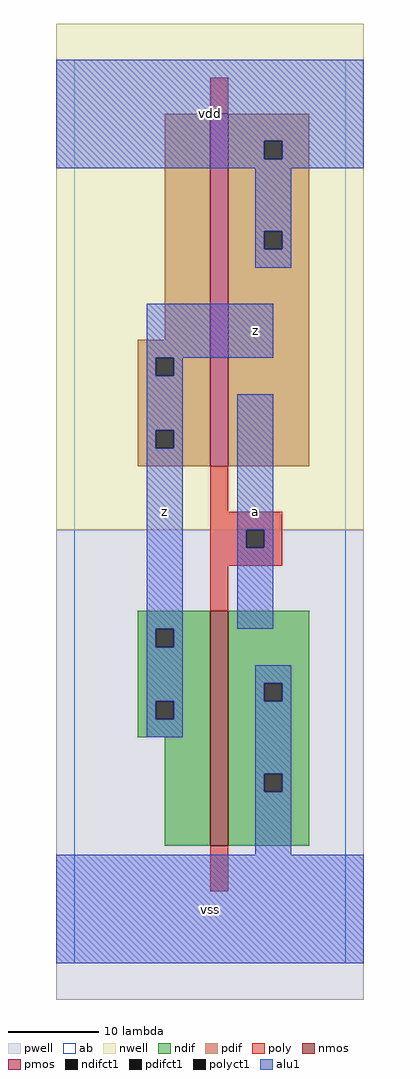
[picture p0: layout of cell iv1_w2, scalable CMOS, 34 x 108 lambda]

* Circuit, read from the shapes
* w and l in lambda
.subckt iv1_w2 a vdd vss z
M1 vss a z VSUBS nfet w=26 l=2
M2 vdd a z n1 pfet w=39 l=2
.ends

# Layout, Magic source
magic
tech scmos
<< ab >>
rect 0 0 30 100
<< nwell >>
rect -2 48 32 104
<< pwell >>
rect -2 -4 32 48
<< poly >>
rect 15 94 17 98
rect 15 50 17 55
rect 15 48 23 50
rect 15 46 19 48
rect 21 46 23 48
rect 15 44 23 46
rect 15 39 17 44
rect 15 8 17 13
<< ndif >>
rect 7 37 15 39
rect 7 35 9 37
rect 11 35 15 37
rect 7 29 15 35
rect 7 27 9 29
rect 11 27 15 29
rect 7 25 15 27
rect 10 13 15 25
rect 17 31 26 39
rect 17 29 21 31
rect 23 29 26 31
rect 17 21 26 29
rect 17 19 21 21
rect 23 19 26 21
rect 17 13 26 19
<< pdif >>
rect 10 69 15 94
rect 7 67 15 69
rect 7 65 9 67
rect 11 65 15 67
rect 7 59 15 65
rect 7 57 9 59
rect 11 57 15 59
rect 7 55 15 57
rect 17 91 26 94
rect 17 89 21 91
rect 23 89 26 91
rect 17 81 26 89
rect 17 79 21 81
rect 23 79 26 81
rect 17 55 26 79
<< alu1 >>
rect -2 91 32 100
rect -2 89 21 91
rect 23 89 32 91
rect -2 88 32 89
rect 20 81 24 88
rect 20 79 21 81
rect 23 79 24 81
rect 20 77 24 79
rect 8 67 22 73
rect 8 65 9 67
rect 11 65 12 67
rect 8 59 12 65
rect 8 57 9 59
rect 11 57 12 59
rect 8 37 12 57
rect 18 48 22 63
rect 18 46 19 48
rect 21 46 22 48
rect 18 37 22 46
rect 8 35 9 37
rect 11 35 12 37
rect 8 29 12 35
rect 8 27 9 29
rect 11 27 12 29
rect 8 25 12 27
rect 20 31 24 33
rect 20 29 21 31
rect 23 29 24 31
rect 20 21 24 29
rect 20 19 21 21
rect 23 19 24 21
rect 20 12 24 19
rect -2 0 32 12
<< nmos >>
rect 15 13 17 39
<< pmos >>
rect 15 55 17 94
<< polyct1 >>
rect 19 46 21 48
<< ndifct1 >>
rect 9 35 11 37
rect 9 27 11 29
rect 21 29 23 31
rect 21 19 23 21
<< pdifct1 >>
rect 9 65 11 67
rect 9 57 11 59
rect 21 89 23 91
rect 21 79 23 81
<< labels >>
rlabel alu1 10 50 10 50 6 z
rlabel alu1 15 6 15 6 6 vss
rlabel alu1 20 50 20 50 6 a
rlabel alu1 20 70 20 70 6 z
rlabel alu1 15 94 15 94 6 vdd
<< end >>
